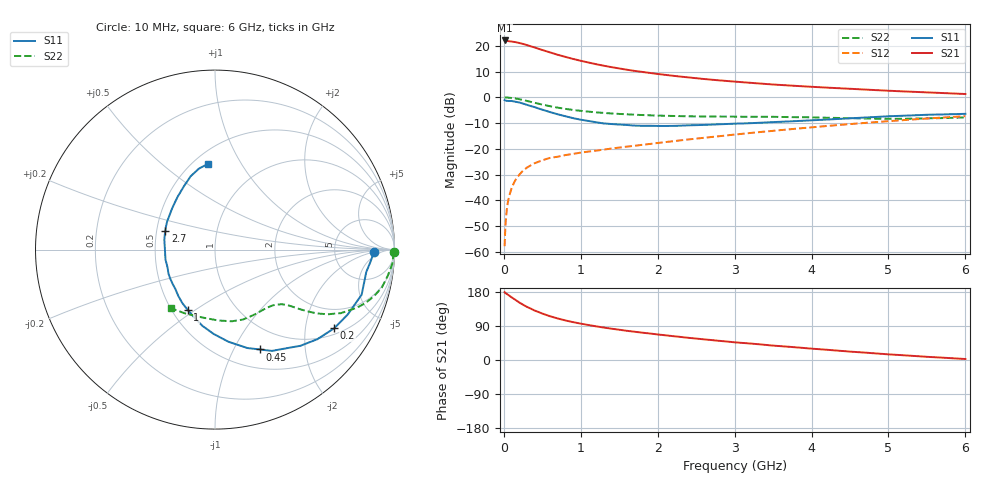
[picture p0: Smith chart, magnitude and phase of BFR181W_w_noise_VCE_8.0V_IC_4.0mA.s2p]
! Infineon Technologies  Discrete & RF Semiconductors
! BFR181W
! VCE =  8.0 V,  IC =  4.0 mA
! Common Emitter S-Parameters:  Jan 2017
# GHz  S  MA  R  50
!  f  S11  S21  S12  S22
! GHz  MAG  ANG  MAG  ANG  MAG  ANG  MAG  ANG
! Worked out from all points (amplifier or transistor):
!   77 points, 10 MHz to 6 GHz, reference 50 ohm
!   highest |S21| = 22.1 dB at 10 MHz (marker M1)
!   |S21| within 3 dB of that: start of sweep to 429.3 MHz
!   unconditionally stable (mu >= 1): 1.542 GHz to 3.456 GHz
!   at 130 MHz: K = 0.13, MSG = 27.4 dB, |S12| = -33.3 dB
!   at 2.2 GHz: K = 1.07, MAG = 11.0 dB, |S12| = -17.0 dB
!   at 6 GHz: K = 0.84, MSG = 4.3 dB, |S12| = -7.3 dB
!   lowest NFmin = 0.92 dB at 450 MHz
!   S11 on the Smith chart (normalised r, x): 10 MHz: 16, -2; 200 MHz: 1.20, -2.88; 450 MHz: 0.72, -1.27; 1 GHz: 0.60, -0.47; 2.7 GHz: 0.56, +0.13; 6 GHz: 0.59, +0.73
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0.01  0.8867 -0.8  12.71 179.0  0.0013 90.6  0.9996 -0.9
0.02  0.8679 -4.7  12.52 176.6  0.0031 96.4  0.9937 -1.6
0.03  0.8622 -5.9  12.47 175.3  0.005 89.8  0.9929 -2.5
0.06  0.851 -10.1  12.32 171.3  0.0105 83.7  0.9878 -5.2
0.15  0.8234 -26.0  11.8 158.8  0.0248 76.5  0.9527 -12.9
0.2  0.7959 -33.4  11.34 151.9  0.0315 73.3  0.9225 -16.4
0.25  0.7579 -41.2  10.89 145.8  0.0381 69.5  0.8892 -19.6
0.3  0.7167 -48.4  10.32 140.2  0.0434 65.4  0.8527 -22.4
0.4  0.6472 -60.7  9.306 130.5  0.0528 61.3  0.7855 -26.8
0.45  0.6094 -65.9  8.78 126.7  0.0564 59.4  0.7552 -28.2
0.6  0.5188 -81.7  7.455 115.5  0.0671 55.3  0.6739 -31.9
0.7  0.4701 -90.9  6.706 109.6  0.0706 54.6  0.6325 -33.3
0.8  0.4304 -99.4  6.103 104.4  0.076 54.3  0.5983 -34.4
1  0.3688 -114.4  5.124 95.9  0.0848 53.8  0.5476 -36.0
1.1  0.3487 -121.6  4.74 92.3  0.0888 54.2  0.5295 -36.6
1.6  0.2915 -153.0  3.437 77.0  0.1109 56.4  0.4698 -40.6
2.1  0.2786 -178.0  2.731 65.2  0.1358 58.5  0.4396 -46.4
2.7  0.2961 159.2  2.204 52.6  0.1704 59.4  0.4252 -55.6
3.1  0.312 146.9  1.97 45.1  0.1967 58.9  0.4214 -61.8
4.1  0.365 123.7  1.575 28.5  0.2703 55.3  0.4063 -78.7
5.1  0.4354 107.0  1.325 13.7  0.3539 48.3  0.3844 -103.2
6  0.4794 94.8  1.163 2.6  0.4319 39.9  0.4088 -127.2
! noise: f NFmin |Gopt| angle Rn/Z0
0.45  0.92  0.39  16  0.24
0.9  0.97  0.36  31  0.24
1.9  1.4  0.2  79  0.2
2.4  1.56  0.17  94  0.22
